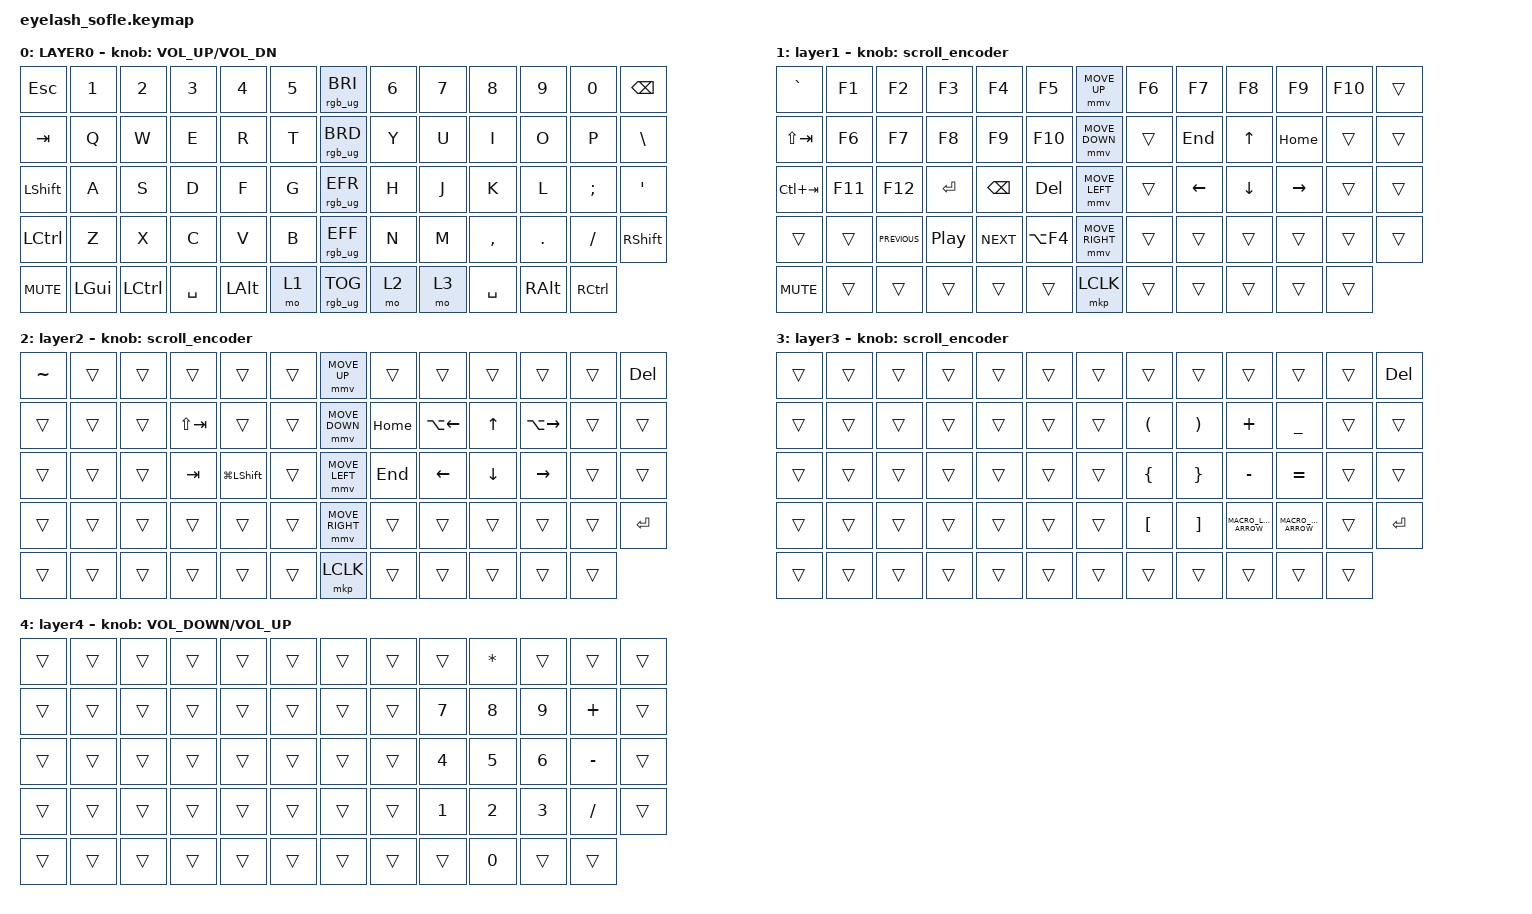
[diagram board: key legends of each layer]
#define ZMK_POINTING_DEFAULT_MOVE_VAL 1200  // 600
#define ZMK_POINTING_DEFAULT_SCRL_VAL 25   // 10

#include <input/processors.dtsi>
#include <zephyr/dt-bindings/input/input-event-codes.h>
#include <behaviors.dtsi>
#include <dt-bindings/zmk/keys.h>
#include <dt-bindings/zmk/pointing.h>
#include <dt-bindings/zmk/rgb.h>

&mmv_input_listener { input-processors = <&zip_xy_scaler 2 1>; };

&msc_input_listener { input-processors = <&zip_scroll_scaler 2 1>; };

&msc {
    acceleration-exponent = <1>;      // 0
    time-to-max-speed-ms = <100>;       // 300
    delay-ms = <0>;                   // 0
};

&mmv {
    time-to-max-speed-ms = <500>;
    acceleration-exponent = <1>;
    trigger-period-ms = <16>;
};

&soft_off { hold-time-ms = <2000>; };

/ {
    scroll_encoder: scroll_encoder {
        compatible = "zmk,behavior-sensor-rotate";
        #sensor-binding-cells = <0>;
        bindings = <&msc SCRL_DOWN>, <&msc SCRL_UP>;

        tap-ms = <100>;
    };

    behaviors {
    };

    combos {
        compatible = "zmk,combos";

        softoff {
            bindings = <&soft_off>;
            key-positions = <14 28 40>;
        };

        screenshot_mac {
            bindings = <&kp LS(LC(X))>;
            key-positions = <43 42 44>;
            timeout-ms = <25>;
            require-prior-idle-ms = <100>;
        };

        screenshot_windows {
            bindings = <&kp LS(LG(S))>;
            key-positions = <42 41 43>;
            timeout-ms = <25>;
            require-prior-idle-ms = <100>;
        };

        alt_enter {
            bindings = <&kp ENTER>;
            key-positions = <30 56>;
            timeout-ms = <30>;
            require-prior-idle-ms = <100>;
        };

        Delete {
            bindings = <&kp DELETE>;
            key-positions = <12 11>;
            timeout-ms = <35>;
        };

        L_Backspace {
            bindings = <&kp BACKSPACE>;
            key-positions = <56 31>;
        };

        tilde {
            bindings = <&kp TILDE>;
            key-positions = <0 1>;
        };

        toggle_4 {
            bindings = <&tog 4>;
            key-positions = <59 63>;
        };
    };

    macros {
        SHIFT_MCLK: SHIFT_MCLK {
            compatible = "zmk,behavior-macro";
            #binding-cells = <0>;
            bindings =
                <&macro_press>,
                <&kp LEFT_SHIFT>,
                <&macro_press>,
                <&mkp MB3>,
                <&macro_pause_for_release>,
                <&macro_release>,
                <&kp LEFT_SHIFT &mkp MB3>;

            label = "SHIFT_MCLK";
        };

        MACRO_RIGHT_ARROW: MACRO_RIGHT_ARROW {
            compatible = "zmk,behavior-macro";
            #binding-cells = <0>;
            bindings = <&kp MINUS &kp GT>;
            label = "MACRO_RIGHT_ARROW";
        };

        MACRO_LEFT_ARROW: MACRO_LEFT_ARROW {
            compatible = "zmk,behavior-macro";
            #binding-cells = <0>;
            bindings = <&kp LESS_THAN &kp MINUS>;
            label = "MACRO_LEFT_ARROW";
        };
    };

    keymap {
        compatible = "zmk,keymap";

        layer0 {
            bindings = <
&kp ESC         &kp N1        &kp N2            &kp N3     &kp N4        &kp N5    &rgb_ug RGB_BRI  &kp N6  &kp N7  &kp N8     &kp N9         &kp N0     &kp BACKSPACE
&kp TAB         &kp Q         &kp W             &kp E      &kp R         &kp T     &rgb_ug RGB_BRD  &kp Y   &kp U   &kp I      &kp O          &kp P      &kp BSLH
&kp LEFT_SHIFT  &kp A         &kp S             &kp D      &kp F         &kp G     &rgb_ug RGB_EFR  &kp H   &kp J   &kp K      &kp L          &kp SEMI   &kp APOS
&kp LCTRL       &kp Z         &kp X             &kp C      &kp V         &kp B     &rgb_ug RGB_EFF  &kp N   &kp M   &kp COMMA  &kp DOT        &kp FSLH   &kp RIGHT_SHIFT
&kp C_MUTE      &kp LEFT_GUI  &kp LEFT_CONTROL  &kp SPACE  &kp LEFT_ALT  &mo 1     &rgb_ug RGB_TOG  &mo 2   &mo 3   &kp SPACE  &kp RIGHT_ALT  &kp RCTRL
            >;

            sensor-bindings = <&inc_dec_kp C_VOLUME_UP C_VOL_DN>;
            display-name = "LAYER0";
        };

        layer_1 {
            bindings = <
&kp GRAVE    &kp F1   &kp F2          &kp F3            &kp F4         &kp F5        &mmv MOVE_UP     &kp F6  &kp F7    &kp F8    &kp F9     &kp F10  &trans
&kp LS(TAB)  &kp F6   &kp F7          &kp F8            &kp F9         &kp F10       &mmv MOVE_DOWN   &trans  &kp END   &kp UP    &kp HOME   &trans   &trans
&kp LC(TAB)  &kp F11  &kp F12         &kp ENTER         &kp BACKSPACE  &kp DELETE    &mmv MOVE_LEFT   &trans  &kp LEFT  &kp DOWN  &kp RIGHT  &trans   &trans
&trans       &trans   &kp C_PREVIOUS  &kp C_PLAY_PAUSE  &kp C_NEXT     &kp LA(F4)    &mmv MOVE_RIGHT  &trans  &trans    &trans    &trans     &trans   &trans
&kp C_MUTE   &trans   &trans          &trans            &trans         &trans        &mkp LCLK        &trans  &trans    &trans    &trans     &trans
            >;

            display-name = "layer1";
            sensor-bindings = <&scroll_encoder>;
        };

        layer_2 {
            bindings = <
&kp TILDE  &trans  &trans  &trans       &trans              &trans    &mmv MOVE_UP     &trans    &trans              &trans          &trans               &trans  &kp DELETE
&trans     &trans  &trans  &kp LS(TAB)  &trans              &trans    &mmv MOVE_DOWN   &kp HOME  &kp LA(LEFT_ARROW)  &kp UP_ARROW    &kp LA(RIGHT_ARROW)  &trans  &trans
&trans     &trans  &trans  &kp TAB      &kp LG(LEFT_SHIFT)  &trans    &mmv MOVE_LEFT   &kp END   &kp LEFT_ARROW      &kp DOWN_ARROW  &kp RIGHT_ARROW      &trans  &trans
&trans     &trans  &trans  &trans       &trans              &trans    &mmv MOVE_RIGHT  &trans    &trans              &trans          &trans               &trans  &kp ENTER
&trans     &trans  &trans  &trans       &trans              &trans    &mkp LCLK        &trans    &trans              &trans          &trans               &trans
            >;

            display-name = "layer2";
            sensor-bindings = <&scroll_encoder>;
        };

        layer_3 {
            bindings = <
&trans  &trans  &trans  &trans  &trans  &trans    &trans  &trans                &trans                 &trans             &trans              &trans  &kp DELETE
&trans  &trans  &trans  &trans  &trans  &trans    &trans  &kp LEFT_PARENTHESIS  &kp RIGHT_PARENTHESIS  &kp PLUS           &kp UNDER           &trans  &trans
&trans  &trans  &trans  &trans  &trans  &trans    &trans  &kp LEFT_BRACE        &kp RIGHT_BRACE        &kp MINUS          &kp EQUAL           &trans  &trans
&trans  &trans  &trans  &trans  &trans  &trans    &trans  &kp LEFT_BRACKET      &kp RIGHT_BRACKET      &MACRO_LEFT_ARROW  &MACRO_RIGHT_ARROW  &trans  &kp ENTER
&trans  &trans  &trans  &trans  &trans  &trans    &trans  &trans                &trans                 &trans             &trans              &trans
            >;

            display-name = "layer3";
            sensor-bindings = <&scroll_encoder>;
        };

        layer_4 {
            bindings = <
&trans  &trans  &trans  &trans  &trans  &trans    &trans  &trans  &trans        &kp ASTERISK  &trans  &trans     &trans
&trans  &trans  &trans  &trans  &trans  &trans    &trans  &trans  &kp NUMBER_7  &kp N8        &kp N9  &kp PLUS   &trans
&trans  &trans  &trans  &trans  &trans  &trans    &trans  &trans  &kp N4        &kp N5        &kp N6  &kp MINUS  &trans
&trans  &trans  &trans  &trans  &trans  &trans    &trans  &trans  &kp N1        &kp N2        &kp N3  &kp SLASH  &trans
&trans  &trans  &trans  &trans  &trans  &trans    &trans  &trans  &trans        &kp N0        &trans  &trans
            >;

            display-name = "layer4";
            sensor-bindings = <&inc_dec_kp C_VOLUME_DOWN C_VOLUME_UP>;
        };
    };
};
